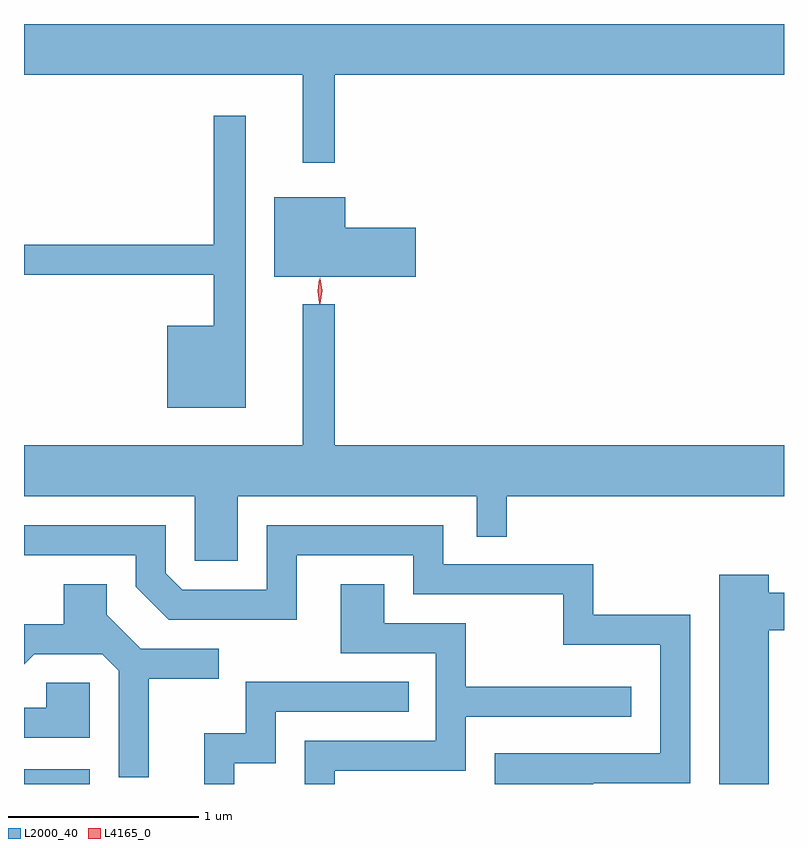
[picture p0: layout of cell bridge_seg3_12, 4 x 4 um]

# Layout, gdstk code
import gdstk
lib = gdstk.Library(unit=1e-6, precision=1e-09)
def R(c, l, rs):  # rectangles x0, y0, x1, y1
    for r in rs: c.add(gdstk.rectangle(r[:2], r[2:], *l))
def P(c, l, *ps):  # polygons
    for p in ps: c.add(gdstk.Polygon(p, *l))
L2000_40 = (2000, 40)
L4165_0 = (4165, 0)

bridge_seg3_12 = lib.new_cell('bridge_seg3_12')
R(bridge_seg3_12, L2000_40, [(1526.933,1211.082,1527.279,1211.159)])
P(bridge_seg3_12, L2000_40, [(1528.569,1214.816),(1530.933,1214.816),(1530.933,1215.082),(1526.933,1215.082),(1526.933,1214.816),(1528.401,1214.816),(1528.401,1214.353),(1528.569,1214.353)],
  [(1528.099,1214.598),(1527.931,1214.598),(1527.931,1213.919),(1526.933,1213.919),(1526.933,1213.761),(1527.931,1213.761),(1527.931,1213.494),(1527.686,1213.494),(1527.686,1213.061),(1528.099,1213.061)],
  [(1528.994,1214.009),(1528.624,1214.009),(1528.624,1214.169),(1528.251,1214.169),(1528.251,1213.751),(1528.994,1213.751)],
  [(1528.059,1212.596),(1529.316,1212.596),(1529.316,1212.383),(1529.474,1212.383),(1529.474,1212.596),(1530.933,1212.596),(1530.933,1212.864),(1528.569,1212.864),(1528.569,1213.608),(1528.401,1213.608),(1528.401,1212.864),(1526.933,1212.864),(1526.933,1212.596),(1527.831,1212.596),(1527.831,1212.256),(1528.059,1212.256)],
  [(1529.929,1211.086),(1530.439,1211.086),(1530.439,1211.974),(1529.929,1211.974),(1529.929,1212.239),(1529.139,1212.239),(1529.139,1212.444),(1528.211,1212.444),(1528.211,1212.104),(1527.767,1212.104),(1527.679,1212.192),(1527.679,1212.444),(1526.933,1212.444),(1526.933,1212.286),(1527.521,1212.286),(1527.521,1212.119),(1527.694,1211.946),(1528.369,1211.946),(1528.369,1212.286),(1528.981,1212.286),(1528.981,1212.081),(1529.771,1212.081),(1529.771,1211.816),(1530.281,1211.816),(1530.281,1211.244),(1529.411,1211.244),(1529.411,1211.082),(1529.929,1211.082)],
  [(1530.854,1211.891),(1530.933,1211.891),(1530.933,1212.089),(1530.854,1212.089),(1530.854,1212.184),(1530.591,1212.184),(1530.591,1211.082),(1530.854,1211.082)],
  [(1528.569,1211.151),(1529.259,1211.151),(1529.259,1211.436),(1530.128,1211.436),(1530.128,1211.594),(1529.259,1211.594),(1529.259,1211.929),(1528.829,1211.929),(1528.829,1212.134),(1528.601,1212.134),(1528.601,1211.771),(1529.101,1211.771),(1529.101,1211.309),(1528.411,1211.309),(1528.411,1211.082),(1528.569,1211.082)],
  [(1527.589,1211.636),(1527.958,1211.636),(1527.958,1211.794),(1527.547,1211.794),(1527.369,1211.972),(1527.369,1212.134),(1527.141,1212.134),(1527.141,1211.924),(1526.933,1211.924),(1526.933,1211.712),(1526.987,1211.766),(1527.344,1211.766),(1527.431,1211.679),(1527.431,1211.118),(1527.589,1211.118)],
  [(1528.039,1211.191),(1528.259,1211.191),(1528.259,1211.461),(1528.958,1211.461),(1528.958,1211.619),(1528.101,1211.619),(1528.101,1211.349),(1527.881,1211.349),(1527.881,1211.082),(1528.039,1211.082)],
  [(1527.279,1211.614),(1527.051,1211.614),(1527.051,1211.484),(1526.933,1211.484),(1526.933,1211.326),(1527.279,1211.326)])
P(bridge_seg3_12, L4165_0, [(1528.49,1213.61),(1528.482,1213.678),(1528.492,1213.745),(1528.492,1213.746),(1528.493,1213.745),(1528.502,1213.678),(1528.491,1213.61),(1528.491,1213.61)],
  [(1528.487,1213.613),(1528.478,1213.676),(1528.487,1213.74),(1528.488,1213.74),(1528.488,1213.74),(1528.498,1213.676),(1528.488,1213.613),(1528.488,1213.613)])

lib.write_gds('bridge_seg3_12.gds')
